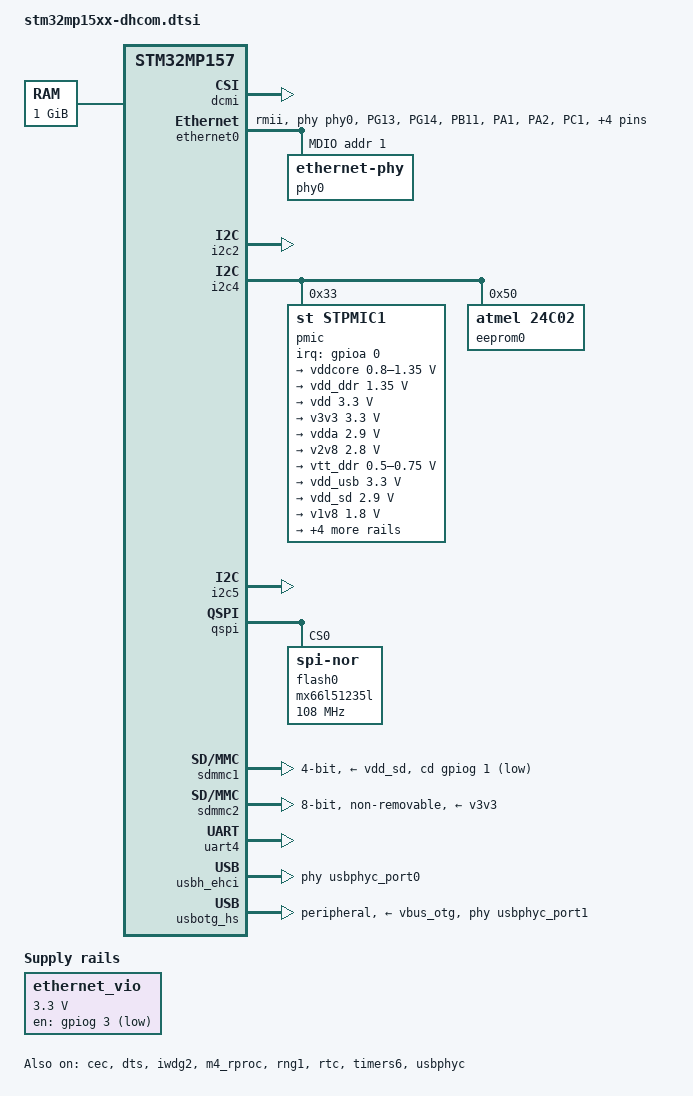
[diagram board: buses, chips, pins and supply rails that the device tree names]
// SPDX-License-Identifier: (GPL-2.0+ OR BSD-3-Clause)
/*
 * Copyright (C) 2019 Marek Vasut <marex@denx.de>
 */
/dts-v1/;

#include "stm32mp157.dtsi"
#include "stm32mp15xc.dtsi"
#include "stm32mp15-pinctrl.dtsi"
#include "stm32mp15xxaa-pinctrl.dtsi"
#include <dt-bindings/gpio/gpio.h>
#include <dt-bindings/mfd/st,stpmic1.h>

/ {
	aliases {
		eeprom0 = &eeprom0;
		ethernet0 = &ethernet0;
	};

	memory@c0000000 {
		device_type = "memory";
		reg = <0xC0000000 0x40000000>;
	};

	ethernet_vio: vioregulator {
		compatible = "regulator-fixed";
		regulator-name = "vio";
		regulator-min-microvolt = <3300000>;
		regulator-max-microvolt = <3300000>;
		gpio = <&gpiog 3 GPIO_ACTIVE_LOW>;
		regulator-always-on;
		regulator-boot-on;
	};
};

&cec {
	pinctrl-names = "default";
	pinctrl-0 = <&cec_pins_a>;
	status = "okay";
};

&dcmi {
	status = "okay";
	pinctrl-names = "default", "sleep";
	pinctrl-0 = <&dcmi_pins_a>;
	pinctrl-1 = <&dcmi_sleep_pins_a>;
};

&dts {
	status = "okay";
};

&ethernet0 {
	status = "okay";
	pinctrl-0 = <&ethernet0_rmii_pins_a>;
	pinctrl-1 = <&ethernet0_rmii_pins_sleep_a>;
	pinctrl-names = "default", "sleep";
	phy-mode = "rmii";
	max-speed = <100>;
	phy-handle = <&phy0>;
	phy-reset-gpios = <&gpioh 15 GPIO_ACTIVE_LOW>;

	mdio0 {
		#address-cells = <1>;
		#size-cells = <0>;
		compatible = "snps,dwmac-mdio";

		phy0: ethernet-phy@1 {
			reg = <1>;
		};
	};
};

&i2c2 {
	pinctrl-names = "default";
	pinctrl-0 = <&i2c2_pins_a>;
	i2c-scl-rising-time-ns = <185>;
	i2c-scl-falling-time-ns = <20>;
	status = "okay";
};

&i2c4 {
	pinctrl-names = "default";
	pinctrl-0 = <&i2c4_pins_a>;
	i2c-scl-rising-time-ns = <185>;
	i2c-scl-falling-time-ns = <20>;
	status = "okay";
	/* spare dmas for other usage */
	/delete-property/dmas;
	/delete-property/dma-names;

	pmic: stpmic@33 {
		compatible = "st,stpmic1";
		reg = <0x33>;
		interrupts-extended = <&gpioa 0 IRQ_TYPE_EDGE_FALLING>;
		interrupt-controller;
		#interrupt-cells = <2>;
		status = "okay";

		regulators {
			compatible = "st,stpmic1-regulators";
			ldo1-supply = <&v3v3>;
			ldo2-supply = <&v3v3>;
			ldo3-supply = <&vdd_ddr>;
			ldo5-supply = <&v3v3>;
			ldo6-supply = <&v3v3>;
			pwr_sw1-supply = <&bst_out>;
			pwr_sw2-supply = <&bst_out>;

			vddcore: buck1 {
				regulator-name = "vddcore";
				regulator-min-microvolt = <800000>;
				regulator-max-microvolt = <1350000>;
				regulator-always-on;
				regulator-initial-mode = <0>;
				regulator-over-current-protection;
			};

			vdd_ddr: buck2 {
				regulator-name = "vdd_ddr";
				regulator-min-microvolt = <1350000>;
				regulator-max-microvolt = <1350000>;
				regulator-always-on;
				regulator-initial-mode = <0>;
				regulator-over-current-protection;
			};

			vdd: buck3 {
				regulator-name = "vdd";
				regulator-min-microvolt = <3300000>;
				regulator-max-microvolt = <3300000>;
				regulator-always-on;
				st,mask-reset;
				regulator-initial-mode = <0>;
				regulator-over-current-protection;
			};

			v3v3: buck4 {
				regulator-name = "v3v3";
				regulator-min-microvolt = <3300000>;
				regulator-max-microvolt = <3300000>;
				regulator-always-on;
				regulator-over-current-protection;
				regulator-initial-mode = <0>;
			};

			vdda: ldo1 {
				regulator-name = "vdda";
				regulator-min-microvolt = <2900000>;
				regulator-max-microvolt = <2900000>;
				interrupts = <IT_CURLIM_LDO1 0>;
			};

			v2v8: ldo2 {
				regulator-name = "v2v8";
				regulator-min-microvolt = <2800000>;
				regulator-max-microvolt = <2800000>;
				interrupts = <IT_CURLIM_LDO2 0>;
			};

			vtt_ddr: ldo3 {
				regulator-name = "vtt_ddr";
				regulator-min-microvolt = <500000>;
				regulator-max-microvolt = <750000>;
				regulator-always-on;
				regulator-over-current-protection;
			};

			vdd_usb: ldo4 {
				regulator-name = "vdd_usb";
				regulator-min-microvolt = <3300000>;
				regulator-max-microvolt = <3300000>;
				interrupts = <IT_CURLIM_LDO4 0>;
			};

			vdd_sd: ldo5 {
				regulator-name = "vdd_sd";
				regulator-min-microvolt = <2900000>;
				regulator-max-microvolt = <2900000>;
				interrupts = <IT_CURLIM_LDO5 0>;
				regulator-boot-on;
			};

			v1v8: ldo6 {
				regulator-name = "v1v8";
				regulator-min-microvolt = <1800000>;
				regulator-max-microvolt = <1800000>;
				interrupts = <IT_CURLIM_LDO6 0>;
			};

			vref_ddr: vref_ddr {
				regulator-name = "vref_ddr";
				regulator-always-on;
				regulator-over-current-protection;
			};

			 bst_out: boost {
				regulator-name = "bst_out";
				interrupts = <IT_OCP_BOOST 0>;
			 };

			vbus_otg: pwr_sw1 {
				regulator-name = "vbus_otg";
				interrupts = <IT_OCP_OTG 0>;
			 };

			 vbus_sw: pwr_sw2 {
				regulator-name = "vbus_sw";
				interrupts = <IT_OCP_SWOUT 0>;
				regulator-active-discharge;
			 };
		};

		onkey {
			compatible = "st,stpmic1-onkey";
			interrupts = <IT_PONKEY_F 0>, <IT_PONKEY_R 0>;
			interrupt-names = "onkey-falling", "onkey-rising";
			power-off-time-sec = <10>;
			status = "okay";
		};

		watchdog {
			compatible = "st,stpmic1-wdt";
			status = "disabled";
		};
	};

	eeprom0: eeprom@50 {
		compatible = "atmel,24c02";
		reg = <0x50>;
		pagesize = <16>;
	};
};

&i2c5 {
	pinctrl-names = "default";
	pinctrl-0 = <&i2c5_pins_a>;
	i2c-scl-rising-time-ns = <185>;
	i2c-scl-falling-time-ns = <20>;
	status = "okay";
};

&ipcc {
	status = "okay";
};

&iwdg2 {
	timeout-sec = <32>;
	status = "okay";
};

&m4_rproc {
	mboxes = <&ipcc 0>, <&ipcc 1>, <&ipcc 2>;
	mbox-names = "vq0", "vq1", "shutdown";
	status = "okay";
};

&pwr_regulators {
	vdd-supply = <&vdd>;
	vdd_3v3_usbfs-supply = <&vdd_usb>;
};

&pinctrl {
	ethernet0_rmii_pins_a: rmii-0 {
		pins1 {
			pinmux = <STM32_PINMUX('G', 13, AF11)>, /* ETH1_RMII_TXD0 */
				 <STM32_PINMUX('G', 14, AF11)>, /* ETH1_RMII_TXD1 */
				 <STM32_PINMUX('B', 11, AF11)>, /* ETH1_RMII_TX_EN */
				 <STM32_PINMUX('A', 1, AF11)>,  /* ETH1_RMII_REF_CLK */
				 <STM32_PINMUX('A', 2, AF11)>,  /* ETH1_MDIO */
				 <STM32_PINMUX('C', 1, AF11)>;  /* ETH1_MDC */
			bias-disable;
			drive-push-pull;
			slew-rate = <2>;
		};
		pins2 {
			pinmux = <STM32_PINMUX('C', 4, AF11)>,  /* ETH1_RMII_RXD0 */
				 <STM32_PINMUX('C', 5, AF11)>,  /* ETH1_RMII_RXD1 */
				 <STM32_PINMUX('A', 7, AF11)>;  /* ETH1_RMII_CRS_DV */
			bias-disable;
		};
	};

	ethernet0_rmii_pins_sleep_a: rmii-sleep-0 {
		pins1 {
			pinmux = <STM32_PINMUX('G', 13, ANALOG)>, /* ETH1_RMII_TXD0 */
				 <STM32_PINMUX('G', 14, ANALOG)>, /* ETH1_RMII_TXD1 */
				 <STM32_PINMUX('B', 11, ANALOG)>, /* ETH1_RMII_TX_EN */
				 <STM32_PINMUX('A', 2, ANALOG)>,  /* ETH1_MDIO */
				 <STM32_PINMUX('C', 1, ANALOG)>,  /* ETH1_MDC */
				 <STM32_PINMUX('C', 4, ANALOG)>,  /* ETH1_RMII_RXD0 */
				 <STM32_PINMUX('C', 5, ANALOG)>,  /* ETH1_RMII_RXD1 */
				 <STM32_PINMUX('A', 1, ANALOG)>,  /* ETH1_RMII_REF_CLK */
				 <STM32_PINMUX('A', 7, ANALOG)>;  /* ETH1_RMII_CRS_DV */
		};
	};
};

&qspi {
	pinctrl-names = "default", "sleep";
	pinctrl-0 = <&qspi_clk_pins_a &qspi_bk1_pins_a>;
	pinctrl-1 = <&qspi_clk_sleep_pins_a &qspi_bk1_sleep_pins_a>;
	reg = <0x58003000 0x1000>, <0x70000000 0x4000000>;
	#address-cells = <1>;
	#size-cells = <0>;
	status = "okay";

	flash0: mx66l51235l@0 {
		compatible = "jedec,spi-nor";
		reg = <0>;
		spi-rx-bus-width = <4>;
		spi-max-frequency = <108000000>;
		#address-cells = <1>;
		#size-cells = <1>;
	};
};

&rng1 {
	status = "okay";
};

&rtc {
	status = "okay";
};

&sdmmc1 {
	pinctrl-names = "default", "opendrain", "sleep";
	pinctrl-0 = <&sdmmc1_b4_pins_a &sdmmc1_dir_pins_a>;
	pinctrl-1 = <&sdmmc1_b4_od_pins_a &sdmmc1_dir_pins_a>;
	pinctrl-2 = <&sdmmc1_b4_sleep_pins_a &sdmmc1_dir_sleep_pins_a>;
	cd-gpios = <&gpiog 1 (GPIO_ACTIVE_LOW | GPIO_PULL_UP)>;
	disable-wp;
	st,sig-dir;
	st,neg-edge;
	bus-width = <4>;
	vmmc-supply = <&vdd_sd>;
	status = "okay";
};

&sdmmc1_b4_pins_a {
	/*
	 * SD bus pull-up resistors:
	 * - optional on SoMs with SD voltage translator
	 * - mandatory on SoMs without SD voltage translator
	 */
	pins1 {
		bias-pull-up;
	};
	pins2 {
		bias-pull-up;
	};
};

&sdmmc2 {
	pinctrl-names = "default";
	pinctrl-0 = <&sdmmc2_b4_pins_a &sdmmc2_d47_pins_a>;
	non-removable;
	no-sd;
	no-sdio;
	st,sig-dir;
	st,neg-edge;
	bus-width = <8>;
	vmmc-supply = <&v3v3>;
	status = "okay";
};

&spi1 {
	pinctrl-names = "default";
	pinctrl-0 = <&spi1_pins_a>;
	status = "disabled";
};

&timers2 {
	/* spare dmas for other usage (un-delete to enable pwm capture) */
	/delete-property/dmas;
	/delete-property/dma-names;
	status = "disabled";
	pwm {
		pinctrl-0 = <&pwm2_pins_a>;
		pinctrl-names = "default";
		status = "okay";
	};
	timer@1 {
		status = "okay";
	};
};

&timers6 {
	status = "okay";
	/* spare dmas for other usage */
	/delete-property/dmas;
	/delete-property/dma-names;
	timer@5 {
		status = "okay";
	};
};

&timers8 {
	/delete-property/dmas;
	/delete-property/dma-names;
	status = "disabled";
	pwm {
		pinctrl-0 = <&pwm8_pins_a>;
		pinctrl-names = "default";
		status = "okay";
	};
	timer@7 {
		status = "okay";
	};
};

&timers12 {
	/delete-property/dmas;
	/delete-property/dma-names;
	status = "disabled";
	pwm {
		pinctrl-0 = <&pwm12_pins_a>;
		pinctrl-names = "default";
		status = "okay";
	};
	timer@11 {
		status = "okay";
	};
};

&uart4 {
	pinctrl-names = "default";
	pinctrl-0 = <&uart4_pins_a>;
	status = "okay";
};

&usbh_ehci {
	phys = <&usbphyc_port0>;
	phy-names = "usb";
	status = "okay";
};

&usbotg_hs {
	dr_mode = "peripheral";
	phys = <&usbphyc_port1 0>;
	phy-names = "usb2-phy";
	vbus-supply = <&vbus_otg>;
	status = "okay";
};

&usbphyc {
	status = "okay";
};

&usbphyc_port0 {
	phy-supply = <&vdd_usb>;
};

&usbphyc_port1 {
	phy-supply = <&vdd_usb>;
};
